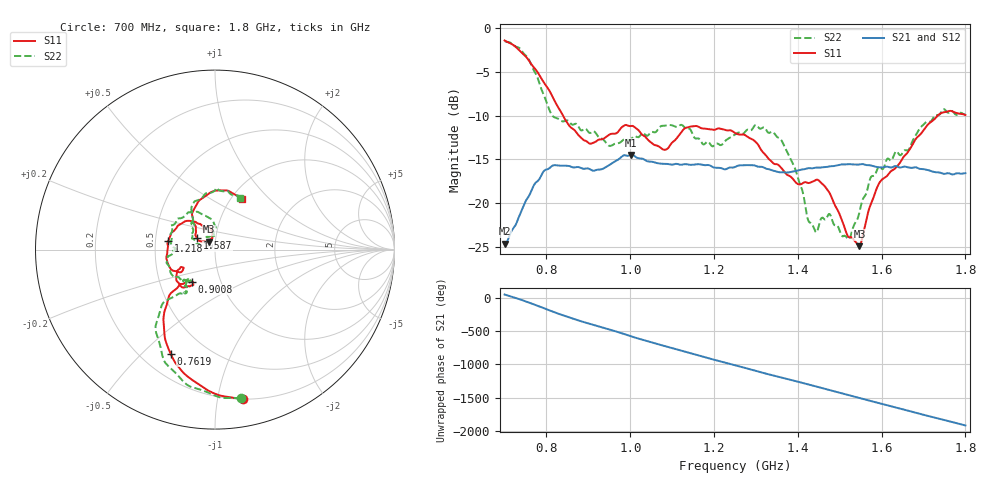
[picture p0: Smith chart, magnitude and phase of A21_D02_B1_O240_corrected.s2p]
! Created with skrf 1.9.0 (http://scikit-rf.org).
# Hz S RI R 50.0
!freq ReS11 ImS11 ReS21 ImS21 ReS12 ImS12 ReS22 ImS22
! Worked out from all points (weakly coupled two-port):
!   1601 points, 700 MHz to 1.8 GHz, reference 50 ohm
!   highest |S21| = -14.49 dB at 1.002 GHz (marker M1); lowest = -24.6 dB at 700.7 MHz (marker M2)
!   lowest |S11| = -24.9 dB at 1.547 GHz (marker M3), VSWR 1.12, Z = 46.4 + j4.1 ohm
!   |S11| at or under -10 dB: 839.3 MHz to 1.734 GHz (894.7 MHz wide, 69.5 % of centre)
!   |S22| runs from -24.1 to -1.5 dB; largest |S21 - S12| = 0.0035
!   S11 on the Smith chart (normalised r, x): 700 MHz: 0.20, -1.19; 761.9 MHz: 0.32, -0.61; 900.8 MHz: 0.73, -0.27; 1.218 GHz: 0.58, +0.06; 1.587 GHz: 0.81, +0.11; 1.8 GHz: 1.13, +0.70
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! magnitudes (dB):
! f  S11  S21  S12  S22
! 700 MHz  -1.4  -24.6  -24.4  -1.5
! 700.7 MHz  -1.4  -24.6  -24.3  -1.5
! 761.9 MHz  -4.0  -18.8  -18.7  -4.0
! 814.1 MHz  -7.8  -15.7  -15.8  -10.0
! 883.6 MHz  -12.6  -16.0  -15.9  -11.7
! 900.8 MHz  -13.1  -16.1  -16.1  -11.9
! 950.9 MHz  -12.2  -15.6  -15.6  -13.5
! 1.002 GHz  -11.2  -14.5  -14.6  -12.7
! 1.067 GHz  -13.5  -15.5  -15.4  -11.5
! 1.138 GHz  -11.3  -15.6  -15.6  -11.5
! 1.218 GHz  -11.5  -16.0  -16.1  -13.3
! 1.25 GHz  -12.0  -15.9  -15.8  -12.2
! 1.3 GHz  -13.1  -15.8  -15.8  -11.1
! 1.359 GHz  -15.9  -16.5  -16.5  -12.7
! 1.434 GHz  -17.6  -16.0  -16.0  -22.4
! 1.476 GHz  -18.8  -15.8  -15.8  -21.2
! 1.521 GHz  -23.9  -15.6  -15.6  -24.1
! 1.547 GHz  -24.9  -15.6  -15.6  -21.1
! 1.587 GHz  -18.5  -15.9  -15.9  -16.5
! 1.617 GHz  -16.7  -15.9  -15.9  -15.0
! 1.737 GHz  -9.9  -16.5  -16.6  -10.0
! 1.8 GHz  -10.0  -16.6  -16.6  -9.9
